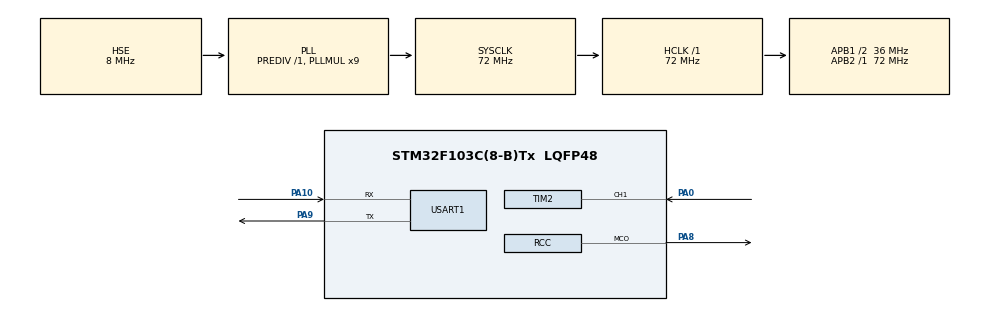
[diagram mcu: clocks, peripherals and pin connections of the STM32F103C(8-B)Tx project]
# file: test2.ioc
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Mcu.Family=STM32F1
Mcu.Name=STM32F103C(8-B)Tx
Mcu.Package=LQFP48
NVIC.PriorityGroup=NVIC_PRIORITYGROUP_4
NVIC.TIM1_UP_IRQn=true\:0\:0\:false\:false\:true\:true\:true\:true
NVIC.TIM2_IRQn=true\:0\:0\:false\:false\:true\:true\:true\:true
PA0-WKUP.Signal=S_TIM2_CH1_ETR
PA10.Mode=Asynchronous
PA10.Signal=USART1_RX
PA13.Mode=Serial_Wire
PA13.Signal=SYS_JTMS-SWDIO
PA14.Mode=Serial_Wire
PA14.Signal=SYS_JTCK-SWCLK
PA8.GPIO_Speed=GPIO_SPEED_FREQ_HIGH
PA8.Mode=Clock-out
PA8.Signal=RCC_MCO
PA9.Mode=Asynchronous
PA9.Signal=USART1_TX
PD0-OSC_IN.Mode=HSE-External-Oscillator
PD0-OSC_IN.Signal=RCC_OSC_IN
PD1-OSC_OUT.Mode=HSE-External-Oscillator
PD1-OSC_OUT.Signal=RCC_OSC_OUT
ProjectManager.HeapSize=0x200
ProjectManager.StackSize=0x400
ProjectManager.TargetToolchain=STM32CubeIDE
RCC.AHBFreq_Value=72000000
RCC.APB1CLKDivider=RCC_HCLK_DIV2
RCC.APB1Freq_Value=36000000
RCC.APB1TimFreq_Value=72000000
RCC.APB2Freq_Value=72000000
RCC.APB2TimFreq_Value=72000000
RCC.HCLKFreq_Value=72000000
RCC.PLLMUL=RCC_PLL_MUL9
RCC.PLLSourceVirtual=RCC_PLLSOURCE_HSE
RCC.RCC_MCOSource=RCC_MCO1SOURCE_HSE
RCC.SYSCLKFreq_VALUE=72000000
RCC.SYSCLKSource=RCC_SYSCLKSOURCE_PLLCLK
RCC.USBFreq_Value=72000000
SH.S_TIM2_CH1_ETR.0=TIM2_CH1,PWM_Input_1
TIM1.CounterMode=TIM_COUNTERMODE_DOWN
TIM1.Period=9999
TIM1.Prescaler=7199
TIM1.TIM_MasterOutputTrigger=TIM_TRGO_ENABLE
TIM1.TIM_MasterSlaveMode=TIM_MASTERSLAVEMODE_ENABLE
TIM2.AutoReloadPreload=TIM_AUTORELOAD_PRELOAD_DISABLE
TIM2.ClockDivision=TIM_CLOCKDIVISION_DIV1
TIM2.ICFilter_1=0
TIM2.Period=65535
TIM2.Prescaler=0
USART1.VirtualMode=VM_ASYNC
VP_TIM1_VS_ClockSourceINT.Mode=Internal
VP_TIM1_VS_OPM.Mode=OPM_bit
VP_TIM2_VS_ClockSourceINT.Mode=Internal
board=custom

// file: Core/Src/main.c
/* USER CODE BEGIN Header */
/**
  ******************************************************************************
  * @file           : main.c
  * @brief          : Main program body
  ******************************************************************************
  * @attention
  *
  * Copyright (c) 2022 STMicroelectronics.
  * All rights reserved.
  *
  * This software is licensed under terms that can be found in the LICENSE file
  * in the root directory of this software component.
  * If no LICENSE file comes with this software, it is provided AS-IS.
  *
  ******************************************************************************
  */
/* USER CODE END Header */
#include "main.h"

/* USER CODE BEGIN Includes */
#include <stdio.h>
#include <string.h>
/* USER CODE END Includes */

/* USER CODE BEGIN PD */
#define F_CLK  72000000UL

volatile uint32_t gu32_TIM2_OVC = 0;
long int T_i = 0;
long int N = 0;
long double F_avg = 0;

#define DWT_CONTROL *(volatile unsigned long *)0xE0001000
#define SCB_DEMCR *(volatile unsigned long *)0xE000EDFC
/* USER CODE END PD */

 TIM_HandleTypeDef htim1;
TIM_HandleTypeDef htim2;

UART_HandleTypeDef huart1;

/* USER CODE BEGIN PV */
 char trans_str[96] = {0,};
/* USER CODE END PV */

void SystemClock_Config(void);
static void MX_GPIO_Init(void);
static void MX_USART1_UART_Init(void);
static void MX_TIM2_Init(void);
static void MX_TIM1_Init(void);

/* USER CODE BEGIN 0 */

void DWT_Init(void)
{
    SCB_DEMCR |= CoreDebug_DEMCR_TRCENA_Msk; // разрешаем использовать счётчик
    DWT_CONTROL |= DWT_CTRL_CYCCNTENA_Msk;   // запускаем счётчик
}

void delay_us(uint32_t us)
{
    uint32_t us_count_tic =  us * (SystemCoreClock / 1000000);
    DWT->CYCCNT = 0U; // обнуляем счётчик
    while(DWT->CYCCNT < us_count_tic);
}

void HAL_TIM_PeriodElapsedCallback(TIM_HandleTypeDef* htim)
{
    if(htim->Instance == TIM2)
    {
    	gu32_TIM2_OVC++;
    }

    if(htim == &htim1)
    {
    	F_avg = (F_CLK/((long double)T_i/(long double)N));

    	T_i = 0;
    	N = 0;

    	HAL_TIM_Base_Stop_IT(&htim1);
        HAL_TIM_Base_Start_IT(&htim1);
    }
}

void HAL_TIM_IC_CaptureCallback(TIM_HandleTypeDef *htim) // колбек по захвату
{
    if(htim->Instance == TIM2)
    {
            if(htim->Channel == HAL_TIM_ACTIVE_CHANNEL_1) // RISING с LOW на HIGH
            {
            		T_i = T_i + (HAL_TIM_ReadCapturedValue(&htim2, TIM_CHANNEL_1) + ((gu32_TIM2_OVC - 1) * 65536) + 2);
            		gu32_TIM2_OVC = 0;
            		N++;
            }
    }
}
/* USER CODE END 0 */

int main(void)
{

  /* MCU Configuration--------------------------------------------------------*/

  /* Reset of all peripherals, Initializes the Flash interface and the Systick. */
  HAL_Init();

  /* USER CODE BEGIN Init */
  DWT_Init();
  /* USER CODE END Init */

  /* Configure the system clock */
  SystemClock_Config();

  /* Initialize all configured peripherals */
  MX_GPIO_Init();
  MX_USART1_UART_Init();
  MX_TIM2_Init();
  MX_TIM1_Init();
  /* USER CODE BEGIN 2 */
  HAL_TIM_Base_Start_IT(&htim1);
  HAL_TIM_Base_Start_IT(&htim2);
  HAL_TIM_IC_Start_IT(&htim2, TIM_CHANNEL_1);   // main channel
  /* USER CODE END 2 */

  /* Infinite loop */
  /* USER CODE BEGIN WHILE */
  while (1)
  {
	  snprintf(trans_str, 96, "F_avg %.8Lf Hz\n", (long double)F_avg);
	  HAL_UART_Transmit(&huart1, (uint8_t*)trans_str, strlen(trans_str), 1000);
	  delay_us(1000000);
    /* USER CODE END WHILE */
    /* USER CODE BEGIN 3 */
	  //HAL_Delay(1000);
  }
  /* USER CODE END 3 */
}

void SystemClock_Config(void)
{
  RCC_OscInitTypeDef RCC_OscInitStruct = {0};
  RCC_ClkInitTypeDef RCC_ClkInitStruct = {0};

  /** Initializes the RCC Oscillators according to the specified parameters
  * in the RCC_OscInitTypeDef structure.
  */
  RCC_OscInitStruct.OscillatorType = RCC_OSCILLATORTYPE_HSE;
  RCC_OscInitStruct.HSEState = RCC_HSE_ON;
  RCC_OscInitStruct.HSEPredivValue = RCC_HSE_PREDIV_DIV1;
  RCC_OscInitStruct.HSIState = RCC_HSI_ON;
  RCC_OscInitStruct.PLL.PLLState = RCC_PLL_ON;
  RCC_OscInitStruct.PLL.PLLSource = RCC_PLLSOURCE_HSE;
  RCC_OscInitStruct.PLL.PLLMUL = RCC_PLL_MUL9;
  if (HAL_RCC_OscConfig(&RCC_OscInitStruct) != HAL_OK)
  {
    Error_Handler();
  }

  /** Initializes the CPU, AHB and APB buses clocks
  */
  RCC_ClkInitStruct.ClockType = RCC_CLOCKTYPE_HCLK|RCC_CLOCKTYPE_SYSCLK
                              |RCC_CLOCKTYPE_PCLK1|RCC_CLOCKTYPE_PCLK2;
  RCC_ClkInitStruct.SYSCLKSource = RCC_SYSCLKSOURCE_PLLCLK;
  RCC_ClkInitStruct.AHBCLKDivider = RCC_SYSCLK_DIV1;
  RCC_ClkInitStruct.APB1CLKDivider = RCC_HCLK_DIV2;
  RCC_ClkInitStruct.APB2CLKDivider = RCC_HCLK_DIV1;

  if (HAL_RCC_ClockConfig(&RCC_ClkInitStruct, FLASH_LATENCY_2) != HAL_OK)
  {
    Error_Handler();
  }
  HAL_RCC_MCOConfig(RCC_MCO, RCC_MCO1SOURCE_HSE, RCC_MCODIV_1);
}

static void MX_TIM1_Init(void)
{

  TIM_ClockConfigTypeDef sClockSourceConfig = {0};
  TIM_MasterConfigTypeDef sMasterConfig = {0};

  htim1.Instance = TIM1;
  htim1.Init.Prescaler = 7199;
  htim1.Init.CounterMode = TIM_COUNTERMODE_DOWN;
  htim1.Init.Period = 9999;
  htim1.Init.ClockDivision = TIM_CLOCKDIVISION_DIV1;
  htim1.Init.RepetitionCounter = 0;
  htim1.Init.AutoReloadPreload = TIM_AUTORELOAD_PRELOAD_DISABLE;
  if (HAL_TIM_Base_Init(&htim1) != HAL_OK)
  {
    Error_Handler();
  }
  sClockSourceConfig.ClockSource = TIM_CLOCKSOURCE_INTERNAL;
  if (HAL_TIM_ConfigClockSource(&htim1, &sClockSourceConfig) != HAL_OK)
  {
    Error_Handler();
  }
  if (HAL_TIM_OnePulse_Init(&htim1, TIM_OPMODE_SINGLE) != HAL_OK)
  {
    Error_Handler();
  }
  sMasterConfig.MasterOutputTrigger = TIM_TRGO_ENABLE;
  sMasterConfig.MasterSlaveMode = TIM_MASTERSLAVEMODE_ENABLE;
  if (HAL_TIMEx_MasterConfigSynchronization(&htim1, &sMasterConfig) != HAL_OK)
  {
    Error_Handler();
  }

}

static void MX_TIM2_Init(void)
{

  TIM_ClockConfigTypeDef sClockSourceConfig = {0};
  TIM_SlaveConfigTypeDef sSlaveConfig = {0};
  TIM_IC_InitTypeDef sConfigIC = {0};
  TIM_MasterConfigTypeDef sMasterConfig = {0};

  htim2.Instance = TIM2;
  htim2.Init.Prescaler = 0;
  htim2.Init.CounterMode = TIM_COUNTERMODE_UP;
  htim2.Init.Period = 65535;
  htim2.Init.ClockDivision = TIM_CLOCKDIVISION_DIV1;
  htim2.Init.AutoReloadPreload = TIM_AUTORELOAD_PRELOAD_DISABLE;
  if (HAL_TIM_Base_Init(&htim2) != HAL_OK)
  {
    Error_Handler();
  }
  sClockSourceConfig.ClockSource = TIM_CLOCKSOURCE_INTERNAL;
  if (HAL_TIM_ConfigClockSource(&htim2, &sClockSourceConfig) != HAL_OK)
  {
    Error_Handler();
  }
  if (HAL_TIM_IC_Init(&htim2) != HAL_OK)
  {
    Error_Handler();
  }
  sSlaveConfig.SlaveMode = TIM_SLAVEMODE_RESET;
  sSlaveConfig.InputTrigger = TIM_TS_TI1FP1;
  sSlaveConfig.TriggerPolarity = TIM_INPUTCHANNELPOLARITY_RISING;
  sSlaveConfig.TriggerPrescaler = TIM_ICPSC_DIV1;
  sSlaveConfig.TriggerFilter = 0;
  if (HAL_TIM_SlaveConfigSynchro(&htim2, &sSlaveConfig) != HAL_OK)
  {
    Error_Handler();
  }
  sConfigIC.ICPolarity = TIM_INPUTCHANNELPOLARITY_RISING;
  sConfigIC.ICSelection = TIM_ICSELECTION_DIRECTTI;
  sConfigIC.ICPrescaler = TIM_ICPSC_DIV1;
  sConfigIC.ICFilter = 0;
  if (HAL_TIM_IC_ConfigChannel(&htim2, &sConfigIC, TIM_CHANNEL_1) != HAL_OK)
  {
    Error_Handler();
  }
  sConfigIC.ICPolarity = TIM_INPUTCHANNELPOLARITY_FALLING;
  sConfigIC.ICSelection = TIM_ICSELECTION_INDIRECTTI;
  if (HAL_TIM_IC_ConfigChannel(&htim2, &sConfigIC, TIM_CHANNEL_2) != HAL_OK)
  {
    Error_Handler();
  }
  sMasterConfig.MasterOutputTrigger = TIM_TRGO_RESET;
  sMasterConfig.MasterSlaveMode = TIM_MASTERSLAVEMODE_DISABLE;
  if (HAL_TIMEx_MasterConfigSynchronization(&htim2, &sMasterConfig) != HAL_OK)
  {
    Error_Handler();
  }

}

static void MX_USART1_UART_Init(void)
{

  huart1.Instance = USART1;
  huart1.Init.BaudRate = 115200;
  huart1.Init.WordLength = UART_WORDLENGTH_8B;
  huart1.Init.StopBits = UART_STOPBITS_1;
  huart1.Init.Parity = UART_PARITY_NONE;
  huart1.Init.Mode = UART_MODE_TX_RX;
  huart1.Init.HwFlowCtl = UART_HWCONTROL_NONE;
  huart1.Init.OverSampling = UART_OVERSAMPLING_16;
  if (HAL_UART_Init(&huart1) != HAL_OK)
  {
    Error_Handler();
  }

}

static void MX_GPIO_Init(void)
{
  GPIO_InitTypeDef GPIO_InitStruct = {0};

  /* GPIO Ports Clock Enable */
  __HAL_RCC_GPIOD_CLK_ENABLE();
  __HAL_RCC_GPIOA_CLK_ENABLE();

  /*Configure GPIO pin : PA8 */
  GPIO_InitStruct.Pin = GPIO_PIN_8;
  GPIO_InitStruct.Mode = GPIO_MODE_AF_PP;
  GPIO_InitStruct.Speed = GPIO_SPEED_FREQ_HIGH;
  HAL_GPIO_Init(GPIOA, &GPIO_InitStruct);

}

void Error_Handler(void)
{
  __disable_irq();
  while (1)
  {
  }
}
